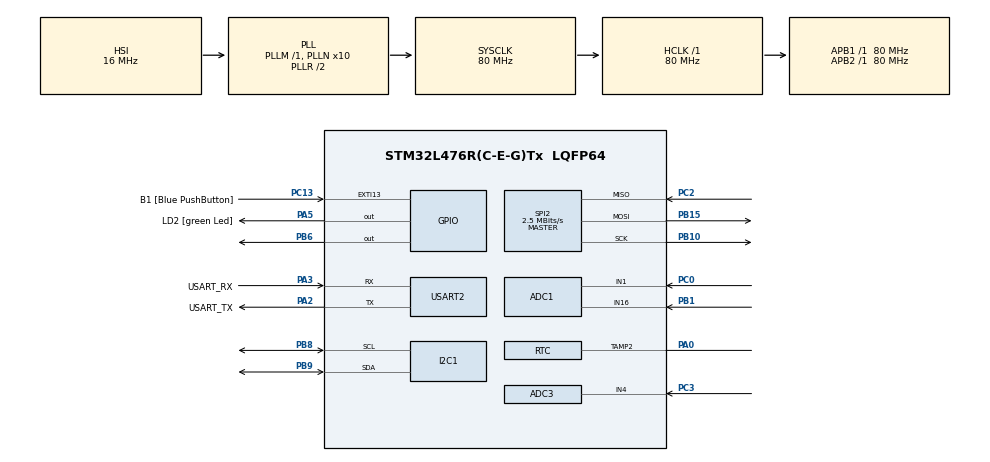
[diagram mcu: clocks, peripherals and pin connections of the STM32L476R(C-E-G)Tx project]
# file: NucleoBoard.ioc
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ADC1.Channel-0\#ChannelRegularConversion=ADC_CHANNEL_16
ADC1.NbrOfConversionFlag=1
ADC1.OffsetNumber-0\#ChannelRegularConversion=ADC_OFFSET_NONE
ADC1.Rank-0\#ChannelRegularConversion=1
ADC1.SamplingTime-0\#ChannelRegularConversion=ADC_SAMPLETIME_2CYCLES_5
ADC1.master=1
ADC3.Channel-0\#ChannelRegularConversion=ADC_CHANNEL_1
ADC3.NbrOfConversionFlag=1
ADC3.OffsetNumber-0\#ChannelRegularConversion=ADC_OFFSET_NONE
ADC3.Rank-0\#ChannelRegularConversion=1
ADC3.SamplingTime-0\#ChannelRegularConversion=ADC_SAMPLETIME_2CYCLES_5
I2C1.Timing=0x10909CEC
Mcu.Family=STM32L4
Mcu.Name=STM32L476R(C-E-G)Tx
Mcu.Package=LQFP64
NVIC.PriorityGroup=NVIC_PRIORITYGROUP_4
PA0.Mode=Tamper 2 enabled
PA0.Signal=RTC_TAMP2
PA13\ (JTMS-SWDIO).GPIO_Label=TMS
PA13\ (JTMS-SWDIO).Mode=Serial_Wire
PA13\ (JTMS-SWDIO).Signal=SYS_JTMS-SWDIO
PA14\ (JTCK-SWCLK).GPIO_Label=TCK
PA14\ (JTCK-SWCLK).Mode=Serial_Wire
PA14\ (JTCK-SWCLK).Signal=SYS_JTCK-SWCLK
PA2.GPIO_Label=USART_TX
PA2.GPIO_Mode=GPIO_MODE_AF_PP
PA2.GPIO_PuPd=GPIO_NOPULL
PA2.GPIO_Speed=GPIO_SPEED_FREQ_VERY_HIGH
PA2.Mode=Asynchronous
PA2.Signal=USART2_TX
PA3.GPIO_Label=USART_RX
PA3.GPIO_Mode=GPIO_MODE_AF_PP
PA3.GPIO_PuPd=GPIO_NOPULL
PA3.GPIO_Speed=GPIO_SPEED_FREQ_VERY_HIGH
PA3.Mode=Asynchronous
PA3.Signal=USART2_RX
PA5.GPIO_Label=LD2 [green Led]
PA5.GPIO_ModeDefaultOutputPP=GPIO_MODE_OUTPUT_PP
PA5.GPIO_PuPd=GPIO_NOPULL
PA5.GPIO_Speed=GPIO_SPEED_FREQ_LOW
PA5.Signal=GPIO_Output
PB1.Signal=ADCx_IN16
PB10.Mode=Full_Duplex_Master
PB10.Signal=SPI2_SCK
PB15.Mode=Full_Duplex_Master
PB15.Signal=SPI2_MOSI
PB3\ (JTDO-TRACESWO).GPIO_Label=SWO
PB3\ (JTDO-TRACESWO).Signal=SYS_JTDO-SWO
PB6.Signal=GPIO_Output
PB8.GPIO_Pu=GPIO_NOPULL
PB8.Mode=I2C
PB8.Signal=I2C1_SCL
PB9.GPIO_Mode=GPIO_MODE_AF_OD
PB9.GPIO_Pu=GPIO_NOPULL
PB9.Mode=I2C
PB9.Signal=I2C1_SDA
PC0.Signal=ADCx_IN1
PC13.GPIO_Label=B1 [Blue PushButton]
PC13.GPIO_ModeDefaultEXTI=GPIO_MODE_IT_FALLING
PC13.GPIO_PuPd=GPIO_NOPULL
PC13.Signal=GPXTI13
PC14-OSC32_IN\ (PC14).Mode=LSE-External-Oscillator
PC14-OSC32_IN\ (PC14).Signal=RCC_OSC32_IN
PC15-OSC32_OUT\ (PC15).Mode=LSE-External-Oscillator
PC15-OSC32_OUT\ (PC15).Signal=RCC_OSC32_OUT
PC2.Mode=Full_Duplex_Master
PC2.Signal=SPI2_MISO
PC3.Signal=ADCx_IN4
PH0-OSC_IN\ (PH0).Signal=RCC_OSC_IN
PH1-OSC_OUT\ (PH1).Signal=RCC_OSC_OUT
ProjectManager.HeapSize=0x200
ProjectManager.StackSize=0x400
ProjectManager.TargetToolchain=STM32CubeIDE
RCC.ADCFreq_Value=64000000
RCC.AHBFreq_Value=80000000
RCC.APB1Freq_Value=80000000
RCC.APB1TimFreq_Value=80000000
RCC.APB2Freq_Value=80000000
RCC.APB2TimFreq_Value=80000000
RCC.CortexFreq_Value=80000000
RCC.HCLKFreq_Value=80000000
RCC.HSE_VALUE=8000000
RCC.HSI_VALUE=16000000
RCC.MSI_VALUE=4000000
RCC.PLLN=10
RCC.PLLSourceVirtual=RCC_PLLSOURCE_HSI
RCC.PREFETCH_ENABLE=1
RCC.SYSCLKFreq_VALUE=80000000
RCC.SYSCLKSource=RCC_SYSCLKSOURCE_PLLCLK
RCC.USBFreq_Value=64000000
RCC.VCOOutputFreq_Value=160000000
SH.ADCx_IN1.0=ADC1_IN1,IN1-Single-Ended
SH.ADCx_IN1.1=ADC3_IN1,IN1-Single-Ended
SH.ADCx_IN16.0=ADC1_IN16,IN16-Single-Ended
SH.ADCx_IN4.0=ADC3_IN4,IN4-Single-Ended
SPI2.BaudRatePrescaler=SPI_BAUDRATEPRESCALER_32
SPI2.CalculateBaudRate=2.5 MBits/s
SPI2.DataSize=SPI_DATASIZE_8BIT
SPI2.Direction=SPI_DIRECTION_2LINES
SPI2.Mode=SPI_MODE_MASTER
SPI2.NSSPMode=SPI_NSS_PULSE_DISABLE
SPI2.VirtualType=VM_MASTER
USART2.VirtualMode-Asynchronous=VM_ASYNC
VP_RTC_VS_RTC_Activate.Mode=RTC_Enabled
board=NUCLEO-L476RG

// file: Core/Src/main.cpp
/* USER CODE BEGIN Header */
/**
  ******************************************************************************
  * @file           : main.cpp
  * @brief          : Main program body
  ******************************************************************************
  * @attention
  *
  * Copyright (c) 2023 STMicroelectronics.
  * All rights reserved.
  *
  * This software is licensed under terms that can be found in the LICENSE file
  * in the root directory of this software component.
  * If no LICENSE file comes with this software, it is provided AS-IS.
  *
  ******************************************************************************
  */
/* USER CODE END Header */
#include "main.h"

/* USER CODE BEGIN Includes */
#include "./TF/main_functions1.h"
/* USER CODE END Includes */

/* USER CODE BEGIN PD */
#define ADDR_VREFINT_CAL ((uint16_t*) VREFINT_CAL_ADDR)
/* USER CODE END PD */

ADC_HandleTypeDef hadc1;
ADC_HandleTypeDef hadc3;

I2C_HandleTypeDef hi2c1;

RTC_HandleTypeDef hrtc;

SPI_HandleTypeDef hspi2;

UART_HandleTypeDef huart2;

/* USER CODE BEGIN PV */
float voltage = 0.0;
__IO uint16_t uhADCxConvertedValue = 0;
uint16_t ADC_max_binary = ((1<<12)-1);
float ADC_ref_voltage = 3.3;
float ADC_sys_voltage = 0.0;
RTC_HandleTypeDef RTCHandle;

static const uint8_t OV2640_addr = 0x60;

//uint8_t frame_buffer[160 * 120] __attribute__((section(".ram2")));
uint8_t frame_buffer[1];
/* USER CODE END PV */

void SystemClock_Config(void);
void PeriphCommonClock_Config(void);
static void MX_GPIO_Init(void);
static void MX_USART2_UART_Init(void);
static void MX_ADC1_Init(void);
static void MX_ADC3_Init(void);
static void MX_RTC_Init(void);
static void MX_I2C1_Init(void);
static void MX_SPI2_Init(void);

int main(void)
{

  /* MCU Configuration--------------------------------------------------------*/

  /* Reset of all peripherals, Initializes the Flash interface and the Systick. */
  HAL_Init();

  /* Configure the system clock */
  SystemClock_Config();

/* Configure the peripherals common clocks */
  PeriphCommonClock_Config();

  /* Initialize all configured peripherals */
  MX_GPIO_Init();
  MX_USART2_UART_Init();
  MX_ADC1_Init();
  MX_ADC3_Init();
  MX_RTC_Init();
  MX_I2C1_Init();
  MX_SPI2_Init();
  /* USER CODE BEGIN 2 */
  printf("\033[2J");
  printf("Reset!\r\n");

  // Set the CS pin high for SPI default state
  CS_High();

  // Testing the ADCs
//  if (HAL_ADC_Start(&hadc3) != HAL_OK)
//  {
//	  printf("hadc3 Start Error\r\n");
//	  Error_Handler();
//  }
//
//  if (HAL_ADC_Start(&hadc1) != HAL_OK)
//  {
//	  printf("hadc1 Start Error\r\n");
//	  Error_Handler();
//  }
//
//  if (HAL_ADC_PollForConversion(&hadc3, 10) != HAL_OK)
//  {
//	  printf("hadc3 PollForConversion Error\r\n");
//	  Error_Handler();
//  }
//  else
//  {
//	  uint32_t HAL_val = HAL_ADC_GetValue(&hadc3);
//	  printf("HAL_ADC_GetValue: %ld\r\n", HAL_val);
//      printf("hadc3 Number: %f\r\n", (HAL_val / float(ADC_max_binary)) * ADC_ref_voltage);
//  }
//
//  if (HAL_ADC_PollForConversion(&hadc1, 10) != HAL_OK)
//  {
//	  printf("hadc1 PollForConversion Error\r\n");
//	  Error_Handler();
//  }
//  else
//  {
//	  uint32_t HAL_val = HAL_ADC_GetValue(&hadc1);
//	  printf("HAL_ADC_GetValue: %ld\r\n", HAL_val);
//      printf("hadc1 Number: %f\r\n", (HAL_val / float(ADC_max_binary)) * ADC_ref_voltage);
//  }
//
//  printf("adc_ref_internal_read(): %f\r\n", adc_ref_internal_read());

  int image_index = 0;

//  ArduCAM_Init();

//  OV2640_set_JPEG_size(OV2640_160x120);

  // Testing SPI
//  write_reg(ARDUCHIP_TEST1, 0xCE);
//  printf("Address: 0x%x, RegData: 0x%x\r\n", ARDUCHIP_TEST1, read_reg(ARDUCHIP_TEST1));
//  write_reg(ARDUCHIP_TEST1, 0xAC);
//  printf("Address: 0x%x, RegData: 0x%x\r\n", ARDUCHIP_TEST1, read_reg(ARDUCHIP_TEST1));

//  StartImageCapture(frame_buffer);
//  uint8_t data[1];
//  data[0] = 0;
//  uint8_t addr[1];
//  addr[0] = 0xff;
//  wrSensorReg8_8(0x35, 0x86);
//  rdSensorReg8_8(0x35, data);
//
//  printf("Data as uint8_t: %d\r\n", data[0]);
//  printf("Data: 0x%x\r\n", int(data[0]));
//
//  wrSensorReg8_8(0x35, 0x88);
//  rdSensorReg8_8(0x35, data);
//
//  printf("Data as uint8_t: %d\r\n", data[0]);
//  printf("Data: 0x%x\r\n", int(data[0]));

  setup1();

  /* USER CODE END 2 */

  /* Infinite loop */
  /* USER CODE BEGIN WHILE */
  while (1)
  {
	  main_single_event(image_index, 3.3);
	  image_index++;
	  if (image_index == 4)
	  {
		  image_index = 0;
		  printf("Stop Mode\r\n");
//		  HAL_SuspendTick();
//	  	  HAL_PWR_EnterSLEEPMode(PWR_MAINREGULATOR_ON, PWR_SLEEPENTRY_WFI);
//		  HAL_PWR_EnterSTOPMode	(PWR_LOWPOWERREGULATOR_ON, PWR_STOPENTRY_WFI);
//		  HAL_Delay(60000);
	  }
//	  HAL_SuspendTick();
//	  HAL_PWR_EnterSTOPMode(PWR_LOWPOWERREGULATOR_ON, PWR_STOPENTRY_WFI);
	  HAL_Delay(5000);
    /* USER CODE END WHILE */

  }
}

void SystemClock_Config(void)
{
  RCC_OscInitTypeDef RCC_OscInitStruct = {0};
  RCC_ClkInitTypeDef RCC_ClkInitStruct = {0};

  /** Configure the main internal regulator output voltage
  */
  if (HAL_PWREx_ControlVoltageScaling(PWR_REGULATOR_VOLTAGE_SCALE1) != HAL_OK)
  {
    Error_Handler();
  }

  /** Initializes the RCC Oscillators according to the specified parameters
  * in the RCC_OscInitTypeDef structure.
  */
  RCC_OscInitStruct.OscillatorType = RCC_OSCILLATORTYPE_HSI|RCC_OSCILLATORTYPE_LSI;
  RCC_OscInitStruct.HSIState = RCC_HSI_ON;
  RCC_OscInitStruct.HSICalibrationValue = RCC_HSICALIBRATION_DEFAULT;
  RCC_OscInitStruct.LSIState = RCC_LSI_ON;
  RCC_OscInitStruct.PLL.PLLState = RCC_PLL_ON;
  RCC_OscInitStruct.PLL.PLLSource = RCC_PLLSOURCE_HSI;
  RCC_OscInitStruct.PLL.PLLM = 1;
  RCC_OscInitStruct.PLL.PLLN = 10;
  RCC_OscInitStruct.PLL.PLLP = RCC_PLLP_DIV7;
  RCC_OscInitStruct.PLL.PLLQ = RCC_PLLQ_DIV2;
  RCC_OscInitStruct.PLL.PLLR = RCC_PLLR_DIV2;
  if (HAL_RCC_OscConfig(&RCC_OscInitStruct) != HAL_OK)
  {
    Error_Handler();
  }

  /** Initializes the CPU, AHB and APB buses clocks
  */
  RCC_ClkInitStruct.ClockType = RCC_CLOCKTYPE_HCLK|RCC_CLOCKTYPE_SYSCLK
                              |RCC_CLOCKTYPE_PCLK1|RCC_CLOCKTYPE_PCLK2;
  RCC_ClkInitStruct.SYSCLKSource = RCC_SYSCLKSOURCE_PLLCLK;
  RCC_ClkInitStruct.AHBCLKDivider = RCC_SYSCLK_DIV1;
  RCC_ClkInitStruct.APB1CLKDivider = RCC_HCLK_DIV1;
  RCC_ClkInitStruct.APB2CLKDivider = RCC_HCLK_DIV1;

  if (HAL_RCC_ClockConfig(&RCC_ClkInitStruct, FLASH_LATENCY_4) != HAL_OK)
  {
    Error_Handler();
  }
}

void PeriphCommonClock_Config(void)
{
  RCC_PeriphCLKInitTypeDef PeriphClkInit = {0};

  /** Initializes the peripherals clock
  */
  PeriphClkInit.PeriphClockSelection = RCC_PERIPHCLK_ADC;
  PeriphClkInit.AdcClockSelection = RCC_ADCCLKSOURCE_PLLSAI1;
  PeriphClkInit.PLLSAI1.PLLSAI1Source = RCC_PLLSOURCE_HSI;
  PeriphClkInit.PLLSAI1.PLLSAI1M = 1;
  PeriphClkInit.PLLSAI1.PLLSAI1N = 8;
  PeriphClkInit.PLLSAI1.PLLSAI1P = RCC_PLLP_DIV7;
  PeriphClkInit.PLLSAI1.PLLSAI1Q = RCC_PLLQ_DIV2;
  PeriphClkInit.PLLSAI1.PLLSAI1R = RCC_PLLR_DIV2;
  PeriphClkInit.PLLSAI1.PLLSAI1ClockOut = RCC_PLLSAI1_ADC1CLK;
  if (HAL_RCCEx_PeriphCLKConfig(&PeriphClkInit) != HAL_OK)
  {
    Error_Handler();
  }
}

static void MX_ADC1_Init(void)
{

  ADC_MultiModeTypeDef multimode = {0};
  ADC_ChannelConfTypeDef sConfig = {0};

  /** Common config
  */
  hadc1.Instance = ADC1;
  hadc1.Init.ClockPrescaler = ADC_CLOCK_ASYNC_DIV1;
  hadc1.Init.Resolution = ADC_RESOLUTION_12B;
  hadc1.Init.DataAlign = ADC_DATAALIGN_RIGHT;
  hadc1.Init.ScanConvMode = ADC_SCAN_DISABLE;
  hadc1.Init.EOCSelection = ADC_EOC_SINGLE_CONV;
  hadc1.Init.LowPowerAutoWait = DISABLE;
  hadc1.Init.ContinuousConvMode = DISABLE;
  hadc1.Init.NbrOfConversion = 1;
  hadc1.Init.DiscontinuousConvMode = DISABLE;
  hadc1.Init.ExternalTrigConv = ADC_SOFTWARE_START;
  hadc1.Init.ExternalTrigConvEdge = ADC_EXTERNALTRIGCONVEDGE_NONE;
  hadc1.Init.DMAContinuousRequests = DISABLE;
  hadc1.Init.Overrun = ADC_OVR_DATA_PRESERVED;
  hadc1.Init.OversamplingMode = DISABLE;
  if (HAL_ADC_Init(&hadc1) != HAL_OK)
  {
    Error_Handler();
  }

  /** Configure the ADC multi-mode
  */
  multimode.Mode = ADC_MODE_INDEPENDENT;
  if (HAL_ADCEx_MultiModeConfigChannel(&hadc1, &multimode) != HAL_OK)
  {
    Error_Handler();
  }

  /** Configure Regular Channel
  */
  sConfig.Channel = ADC_CHANNEL_16;
  sConfig.Rank = ADC_REGULAR_RANK_1;
  sConfig.SamplingTime = ADC_SAMPLETIME_2CYCLES_5;
  sConfig.SingleDiff = ADC_SINGLE_ENDED;
  sConfig.OffsetNumber = ADC_OFFSET_NONE;
  sConfig.Offset = 0;
  if (HAL_ADC_ConfigChannel(&hadc1, &sConfig) != HAL_OK)
  {
    Error_Handler();
  }

}

static void MX_ADC3_Init(void)
{

  ADC_ChannelConfTypeDef sConfig = {0};

  /** Common config
  */
  hadc3.Instance = ADC3;
  hadc3.Init.ClockPrescaler = ADC_CLOCK_ASYNC_DIV1;
  hadc3.Init.Resolution = ADC_RESOLUTION_12B;
  hadc3.Init.DataAlign = ADC_DATAALIGN_RIGHT;
  hadc3.Init.ScanConvMode = ADC_SCAN_DISABLE;
  hadc3.Init.EOCSelection = ADC_EOC_SINGLE_CONV;
  hadc3.Init.LowPowerAutoWait = DISABLE;
  hadc3.Init.ContinuousConvMode = DISABLE;
  hadc3.Init.NbrOfConversion = 1;
  hadc3.Init.DiscontinuousConvMode = DISABLE;
  hadc3.Init.ExternalTrigConv = ADC_SOFTWARE_START;
  hadc3.Init.ExternalTrigConvEdge = ADC_EXTERNALTRIGCONVEDGE_NONE;
  hadc3.Init.DMAContinuousRequests = DISABLE;
  hadc3.Init.Overrun = ADC_OVR_DATA_PRESERVED;
  hadc3.Init.OversamplingMode = DISABLE;
  if (HAL_ADC_Init(&hadc3) != HAL_OK)
  {
    Error_Handler();
  }

  /** Configure Regular Channel
  */
  sConfig.Channel = ADC_CHANNEL_1;
  sConfig.Rank = ADC_REGULAR_RANK_1;
  sConfig.SamplingTime = ADC_SAMPLETIME_2CYCLES_5;
  sConfig.SingleDiff = ADC_SINGLE_ENDED;
  sConfig.OffsetNumber = ADC_OFFSET_NONE;
  sConfig.Offset = 0;
  if (HAL_ADC_ConfigChannel(&hadc3, &sConfig) != HAL_OK)
  {
    Error_Handler();
  }

}

static void MX_I2C1_Init(void)
{

  hi2c1.Instance = I2C1;
  hi2c1.Init.Timing = 0x10909CEC;
  hi2c1.Init.OwnAddress1 = 0;
  hi2c1.Init.AddressingMode = I2C_ADDRESSINGMODE_7BIT;
  hi2c1.Init.DualAddressMode = I2C_DUALADDRESS_DISABLE;
  hi2c1.Init.OwnAddress2 = 0;
  hi2c1.Init.OwnAddress2Masks = I2C_OA2_NOMASK;
  hi2c1.Init.GeneralCallMode = I2C_GENERALCALL_DISABLE;
  hi2c1.Init.NoStretchMode = I2C_NOSTRETCH_DISABLE;
  if (HAL_I2C_Init(&hi2c1) != HAL_OK)
  {
    Error_Handler();
  }

  /** Configure Analogue filter
  */
  if (HAL_I2CEx_ConfigAnalogFilter(&hi2c1, I2C_ANALOGFILTER_ENABLE) != HAL_OK)
  {
    Error_Handler();
  }

  /** Configure Digital filter
  */
  if (HAL_I2CEx_ConfigDigitalFilter(&hi2c1, 0) != HAL_OK)
  {
    Error_Handler();
  }

}

static void MX_RTC_Init(void)
{

  RTC_TamperTypeDef sTamper = {0};

  /** Initialize RTC Only
  */
  hrtc.Instance = RTC;
  hrtc.Init.HourFormat = RTC_HOURFORMAT_24;
  hrtc.Init.AsynchPrediv = 127;
  hrtc.Init.SynchPrediv = 255;
  hrtc.Init.OutPut = RTC_OUTPUT_DISABLE;
  hrtc.Init.OutPutRemap = RTC_OUTPUT_REMAP_NONE;
  hrtc.Init.OutPutPolarity = RTC_OUTPUT_POLARITY_HIGH;
  hrtc.Init.OutPutType = RTC_OUTPUT_TYPE_OPENDRAIN;
  if (HAL_RTC_Init(&hrtc) != HAL_OK)
  {
    Error_Handler();
  }

  /** Enable the RTC Tamper 2
  */
  sTamper.Tamper = RTC_TAMPER_2;
  sTamper.Trigger = RTC_TAMPERTRIGGER_RISINGEDGE;
  sTamper.NoErase = RTC_TAMPER_ERASE_BACKUP_ENABLE;
  sTamper.MaskFlag = RTC_TAMPERMASK_FLAG_DISABLE;
  sTamper.Filter = RTC_TAMPERFILTER_DISABLE;
  sTamper.SamplingFrequency = RTC_TAMPERSAMPLINGFREQ_RTCCLK_DIV32768;
  sTamper.PrechargeDuration = RTC_TAMPERPRECHARGEDURATION_1RTCCLK;
  sTamper.TamperPullUp = RTC_TAMPER_PULLUP_ENABLE;
  sTamper.TimeStampOnTamperDetection = RTC_TIMESTAMPONTAMPERDETECTION_ENABLE;
  if (HAL_RTCEx_SetTamper(&hrtc, &sTamper) != HAL_OK)
  {
    Error_Handler();
  }

}

static void MX_SPI2_Init(void)
{

  /* SPI2 parameter configuration*/
  hspi2.Instance = SPI2;
  hspi2.Init.Mode = SPI_MODE_MASTER;
  hspi2.Init.Direction = SPI_DIRECTION_2LINES;
  hspi2.Init.DataSize = SPI_DATASIZE_8BIT;
  hspi2.Init.CLKPolarity = SPI_POLARITY_LOW;
  hspi2.Init.CLKPhase = SPI_PHASE_1EDGE;
  hspi2.Init.NSS = SPI_NSS_SOFT;
  hspi2.Init.BaudRatePrescaler = SPI_BAUDRATEPRESCALER_32;
  hspi2.Init.FirstBit = SPI_FIRSTBIT_MSB;
  hspi2.Init.TIMode = SPI_TIMODE_DISABLE;
  hspi2.Init.CRCCalculation = SPI_CRCCALCULATION_DISABLE;
  hspi2.Init.CRCPolynomial = 7;
  hspi2.Init.CRCLength = SPI_CRC_LENGTH_DATASIZE;
  hspi2.Init.NSSPMode = SPI_NSS_PULSE_DISABLE;
  if (HAL_SPI_Init(&hspi2) != HAL_OK)
  {
    Error_Handler();
  }

}

static void MX_USART2_UART_Init(void)
{

  huart2.Instance = USART2;
  huart2.Init.BaudRate = 115200;
  huart2.Init.WordLength = UART_WORDLENGTH_8B;
  huart2.Init.StopBits = UART_STOPBITS_1;
  huart2.Init.Parity = UART_PARITY_NONE;
  huart2.Init.Mode = UART_MODE_TX_RX;
  huart2.Init.HwFlowCtl = UART_HWCONTROL_NONE;
  huart2.Init.OverSampling = UART_OVERSAMPLING_16;
  huart2.Init.OneBitSampling = UART_ONE_BIT_SAMPLE_DISABLE;
  huart2.AdvancedInit.AdvFeatureInit = UART_ADVFEATURE_NO_INIT;
  if (HAL_UART_Init(&huart2) != HAL_OK)
  {
    Error_Handler();
  }

}

static void MX_GPIO_Init(void)
{
  GPIO_InitTypeDef GPIO_InitStruct = {0};

  /* GPIO Ports Clock Enable */
  __HAL_RCC_GPIOC_CLK_ENABLE();
  __HAL_RCC_GPIOH_CLK_ENABLE();
  __HAL_RCC_GPIOA_CLK_ENABLE();
  __HAL_RCC_GPIOB_CLK_ENABLE();

  /*Configure GPIO pin Output Level */
  HAL_GPIO_WritePin(LD2_GPIO_Port, LD2_Pin, GPIO_PIN_RESET);

  /*Configure GPIO pin Output Level */
  HAL_GPIO_WritePin(GPIOB, GPIO_PIN_6, GPIO_PIN_RESET);

  /*Configure GPIO pin : B1_Pin */
  GPIO_InitStruct.Pin = B1_Pin;
  GPIO_InitStruct.Mode = GPIO_MODE_IT_FALLING;
  GPIO_InitStruct.Pull = GPIO_NOPULL;
  HAL_GPIO_Init(B1_GPIO_Port, &GPIO_InitStruct);

  /*Configure GPIO pin : LD2_Pin */
  GPIO_InitStruct.Pin = LD2_Pin;
  GPIO_InitStruct.Mode = GPIO_MODE_OUTPUT_PP;
  GPIO_InitStruct.Pull = GPIO_NOPULL;
  GPIO_InitStruct.Speed = GPIO_SPEED_FREQ_LOW;
  HAL_GPIO_Init(LD2_GPIO_Port, &GPIO_InitStruct);

  /*Configure GPIO pin : PB6 */
  GPIO_InitStruct.Pin = GPIO_PIN_6;
  GPIO_InitStruct.Mode = GPIO_MODE_OUTPUT_PP;
  GPIO_InitStruct.Pull = GPIO_NOPULL;
  GPIO_InitStruct.Speed = GPIO_SPEED_FREQ_LOW;
  HAL_GPIO_Init(GPIOB, &GPIO_InitStruct);

}

/* USER CODE BEGIN 4 */
float adc_ref_internal_read(void)
{
	uint16_t VREFINT_CAL, VREFINT_DATA;
	VREFINT_CAL = *ADDR_VREFINT_CAL;
	float vref_int_voltage = 0.0;

	// Start the conversion process for hadc3
	if (HAL_ADC_Start(&hadc3) != HAL_OK)
	{
		printf("hadc3 Start Error\r\n");
		Error_Handler();
	}

	// Start the conversion process for hadc1
	if (HAL_ADC_Start(&hadc1) != HAL_OK)
	{
		printf("hadc1 Start Error\r\n");
		Error_Handler();
	}

	// Wait for the end of the conversation for hadc3
	if (HAL_ADC_PollForConversion(&hadc3, 10) != HAL_OK)
	{
		printf("hadc3 PollForConversion Error\r\n");
		Error_Handler();
	}
	else
	{
		// Read converted value
		VREFINT_DATA = HAL_ADC_GetValue(&hadc3);

		// Convert result from 16 bit value to voltage dimension (mV unit)
		// Vref = 3.3 V
		vref_int_voltage = (VREFINT_DATA / (float)ADC_max_binary) * ADC_ref_voltage;
	}

	// Wait for the end of the conversation for hadc1s
	if (HAL_ADC_PollForConversion(&hadc1, 10) != HAL_OK)
	{
		printf("hadc1 PollForConversion Error\r\n");
		Error_Handler();
	}
	else
	{
		// ADC conversion completed
		// Get converted value of the regular channel
		uhADCxConvertedValue = HAL_ADC_GetValue(&hadc1);
		ADC_sys_voltage = 3.3f * (float)VREFINT_CAL * uhADCxConvertedValue / ((float)VREFINT_DATA * ADC_max_binary);
		// resistor divide
		//ADC_sys_voltage *= 4.0f;
		// compensate
		//ADC_sys_voltage *= (5.11/4.01f);
	}
	return ADC_sys_voltage;
}

#define RTC_ASYNCH_PREDIV    0x7F
#define RTC_SYNCH_PREDIV     0x0130
void RTC_Config(void)
{
  /* Configure RTC */
  RTCHandle.Instance = RTC;

  /* Set the RTC time base to 1s */
  /* Configure RTC prescaler and RTC data registers as follow:
    - Hour Format     = Format 24
    - Asynch Prediv   = Value according to source clock
    - Synch Prediv    = Value according to source clock
    - OutPut          = Output Disable
    - OutPutPolarity  = High Polarity
    - OutPutType      = Open Drain */
  RTCHandle.Init.HourFormat = RTC_HOURFORMAT_24;
  RTCHandle.Init.AsynchPrediv = RTC_ASYNCH_PREDIV;
  RTCHandle.Init.SynchPrediv = RTC_SYNCH_PREDIV;
  RTCHandle.Init.OutPut = RTC_OUTPUT_DISABLE;
  RTCHandle.Init.OutPutPolarity = RTC_OUTPUT_POLARITY_HIGH;
  RTCHandle.Init.OutPutType = RTC_OUTPUT_TYPE_OPENDRAIN;
  if(HAL_RTC_Init(&RTCHandle) != HAL_OK)
  {
    /* Initialization Error */
    Error_Handler();
  }
}

// sleep ms
void stop_mode2_duration(uint32_t ms)
{
	/* Configure the RTC */
	RTC_Config();

	/* Disable Wakeup Counter */
	HAL_RTCEx_DeactivateWakeUpTimer(&RTCHandle);

	/* ## Setting the Wake up time ############################################*/
	/*  RTC Wakeup Interrupt Generation:
	  Wakeup Time Base = (RTC_WAKEUPCLOCK_RTCCLK_DIV /(LSE or LSI))
	  Wakeup Time = Wakeup Time Base * WakeUpCounter
	  = (RTC_WAKEUPCLOCK_RTCCLK_DIV /(LSE or LSI)) * WakeUpCounter
		==> WakeUpCounter = Wakeup Time / Wakeup Time Base

	  To configure the wake up timer to 20s the WakeUpCounter is set to 0x9C40:
	  RTC_WAKEUPCLOCK_RTCCLK_DIV = RTCCLK_Div16 = 16
	  Wakeup Time Base = 16 /(32.000KHz) = 0,5 ms
	  Wakeup Time = 20s = 0,5ms  * WakeUpCounter
	==> WakeUpCounter = 20s/0,5ms = 40000 = 0x9C40 */
	// 5s
	uint32_t counts = ms * (0x2710 / 5000);
//	HAL_RTCEx_SetWakeUpTimer_IT(&RTCHandle, 0x2710, RTC_WAKEUPCLOCK_RTCCLK_DIV16);
	HAL_RTCEx_SetWakeUpTimer_IT(&RTCHandle, counts, RTC_WAKEUPCLOCK_RTCCLK_DIV16);

	/* Enter Stop Mode */
	HAL_PWR_EnterSTOPMode(PWR_LOWPOWERREGULATOR_ON, PWR_STOPENTRY_WFI);
	/* Configures system clock after wake-up from STOP: enable HSE, PLL and select
		PLL as system clock source (HSE and PLL are disabled in STOP mode) */
	//	SYSCLKConfig_STOP();
	/* Configure the system clock */
	SystemClock_Config();

	/* Configure the peripherals common clocks */
	PeriphCommonClock_Config();
}

void stop_mode2(void)
{
	/* Configure the RTC */
	RTC_Config();

//	while (1)
//	{
		// read ADC voltage
//		adc_ref_internal_read();
		/* Turn LED1 on */
		HAL_GPIO_WritePin(GPIOC, GPIO_PIN_0, GPIO_PIN_RESET);

		/* Insert 5 second delay */
		HAL_Delay(1);

		/* Disable Wakeup Counter */
		HAL_RTCEx_DeactivateWakeUpTimer(&RTCHandle);

		/* ## Setting the Wake up time ############################################*/
		/*  RTC Wakeup Interrupt Generation:
		  Wakeup Time Base = (RTC_WAKEUPCLOCK_RTCCLK_DIV /(LSE or LSI))
		  Wakeup Time = Wakeup Time Base * WakeUpCounter
		  = (RTC_WAKEUPCLOCK_RTCCLK_DIV /(LSE or LSI)) * WakeUpCounter
			==> WakeUpCounter = Wakeup Time / Wakeup Time Base

		  To configure the wake up timer to 20s the WakeUpCounter is set to 0x9C40:
		  RTC_WAKEUPCLOCK_RTCCLK_DIV = RTCCLK_Div16 = 16
		  Wakeup Time Base = 16 /(32.000KHz) = 0,5 ms
		  Wakeup Time = 20s = 0,5ms  * WakeUpCounter
		==> WakeUpCounter = 20s/0,5ms = 40000 = 0x9C40 */
		// 5s
//		HAL_RTCEx_SetWakeUpTimer_IT(&RTCHandle, 0x2710, RTC_WAKEUPCLOCK_RTCCLK_DIV16);
		HAL_RTCEx_SetWakeUpTimer_IT(&RTCHandle, 0x9C40, RTC_WAKEUPCLOCK_RTCCLK_DIV16);

		/* Turn LED1 OFF  */
		HAL_GPIO_WritePin(GPIOC, GPIO_PIN_0, GPIO_PIN_SET);

		/* Enter Stop Mode */
		HAL_PWR_EnterSTOPMode(PWR_LOWPOWERREGULATOR_ON, PWR_STOPENTRY_WFI);
		/* Configures system clock after wake-up from STOP: enable HSE, PLL and select
			PLL as system clock source (HSE and PLL are disabled in STOP mode) */
		//	SYSCLKConfig_STOP();
		/* Configure the system clock */
		SystemClock_Config();

		/* Configure the peripherals common clocks */
		PeriphCommonClock_Config();
//	}
}

// Function to set the CS Bit High
void CS_High(void)
{
	HAL_GPIO_WritePin(GPIOB, GPIO_PIN_6, GPIO_PIN_SET);
}

// Function to set the CS Bit Low
void CS_Low(void)
{
	HAL_GPIO_WritePin(GPIOB, GPIO_PIN_6, GPIO_PIN_RESET);
}

void HAL_GPIO_EXTI_Callback(uint16_t GPIO_Pin)
{
	HAL_ResumeTick();
}
/* USER CODE END 4 */

void Error_Handler(void)
{
  /* USER CODE BEGIN Error_Handler_Debug */
  /* User can add his own implementation to report the HAL error return state */
  __disable_irq();
  printf("Inside Error Handler!\r\n");
  while (1)
  {
  }
  /* USER CODE END Error_Handler_Debug */
}
